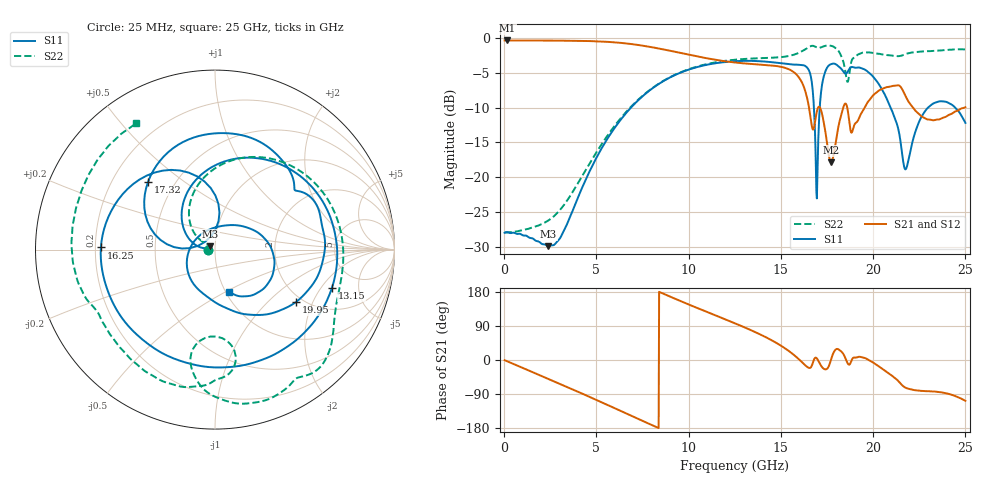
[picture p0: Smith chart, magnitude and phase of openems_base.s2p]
! BV_vna_clk_w5: /FPGA/FPGA_CLK_R via F.Cu→In3.Cu at (180.401, 101.754)
! stackup: VNA from the board file and its kisi.json
! ports: 1 in, 2 out
! openEMS 0.37.0, staircase, base mesh (dfine 0.07 mm), 724992 cells
# Hz S RI R 50
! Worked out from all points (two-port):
!   1000 points, 25 MHz to 25 GHz, reference 50 ohm
!   highest |S21| = -0.35 dB at 175 MHz (marker M1); lowest = -17.9 dB at 17.73 GHz (marker M2)
!   |S21| within 3 dB of the highest: start of sweep to 12 GHz
!   lowest |S11| = -29.9 dB at 2.4 GHz (marker M3), VSWR 1.07, Z = 47.4 + j1.64 ohm
!   |S11| at or under -10 dB: start of sweep to 6.872 GHz; 20.95 GHz to 22.97 GHz (2.021 GHz wide, 9.2 % of centre); 24.44 GHz to end of sweep (the widest 3 of 4)
!   |S22| runs from -27.9 to -1.1 dB; largest |S21 - S12| = 0.0071
!   S11 on the Smith chart (normalised r, x): 25 MHz: 0.92, +0.00; 13.15 GHz: 3.16, -2.56; 16.25 GHz: 0.22, +0.01; 17.32 GHz: 0.35, +0.37; 19.95 GHz: 1.83, -1.51; 25 GHz: 1.04, -0.52
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2.5e7  -0.04 0.000364  0.9594 -0.00855  0.9598 -0.00876  -0.0402 0.000497
1.75e8  -0.0402 0.00337  0.9581 -0.0608  0.9577 -0.0606  -0.04 0.0032
2.4e9  -0.0269 0.0173  0.6173 -0.7326  0.6173 -0.7329  -0.0388 0.0299
4.2e9  -0.0818 0.0125  0.0331 -0.9529  0.0331 -0.9527  -0.084 0.0552
6.525e9  -0.1855 0.2101  -0.6919 -0.601  -0.692 -0.6019  -0.1411 0.2486
8.35e9  -0.00799 0.4649  -0.8422 -0.0135  -0.8441 -0.0137  0.0227 0.4664
1.2525e10  0.681 -0.0246  -0.076 0.6624  -0.0726 0.6622  0.6688 0.2008
1.315e10  0.6512 -0.2144  0.0729 0.6508  0.0757 0.6484  0.7032 0.0892
1.5175e10  -0.0501 -0.6529  0.5181 0.3286  0.5124 0.3282  0.6831 -0.2662
1.625e10  -0.6357 0.0122  0.4359 -0.0835  0.4386 -0.0772  0.6541 -0.4915
1.6675e10  -0.1947 0.4407  0.226 -0.0609  0.2294 -0.0604  0.5861 -0.6541
1.695e10  -0.0559 0.0429  0.2962 0.0213  0.2981 0.023  0.4771 -0.7088
1.7325e10  -0.3736 0.3756  0.2272 -0.0973  0.2316 -0.0963  0.3869 -0.7816
1.7725e10  0.0221 0.6488  0.1278 0.00594  0.1299 0.00469  0.2012 -0.8551
1.8425e10  0.442 0.3507  0.3214 0.0704  0.3228 0.0681  -0.1367 -0.6282
1.89e10  0.5835 0.2013  0.2188 0.0189  0.2239 0.0164  0.0472 -0.711
1.995e10  0.4498 -0.2929  0.3792 -0.0343  0.3772 -0.0398  -0.3664 -0.6916
2.085e10  0.0743 -0.3306  0.3625 -0.2595  0.3605 -0.2606  -0.5764 -0.4836
2.15e10  -0.1573 -0.0748  0.2018 -0.3958  0.2024 -0.3961  -0.6668 -0.3323
2.2025e10  0.0756 0.136  0.0736 -0.3251  0.0708 -0.326  -0.7603 -0.1889
2.3275e10  0.3315 -0.0729  0.0308 -0.2548  0.0277 -0.2551  -0.7689 0.2497
2.5e10  0.0768 -0.2336  -0.0955 -0.3036  -0.0964 -0.3004  -0.4382 0.7029
